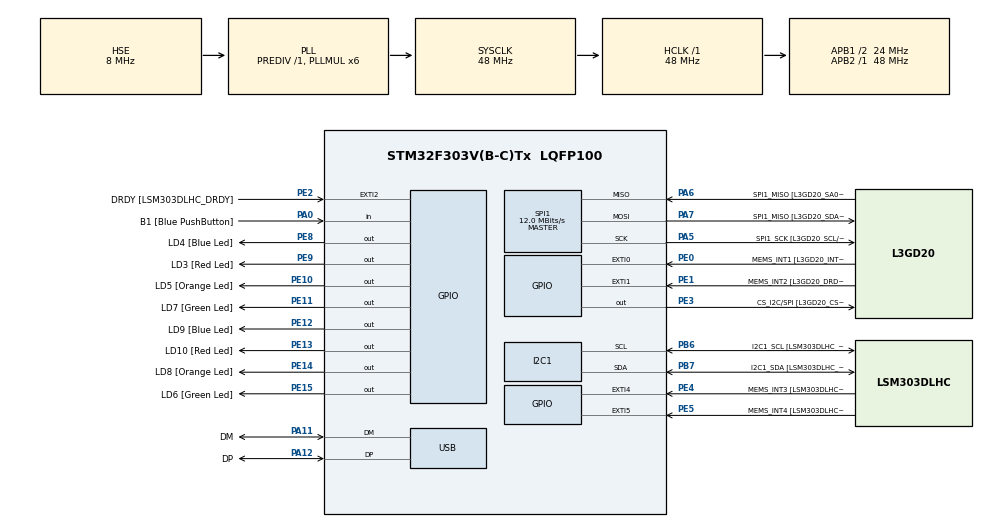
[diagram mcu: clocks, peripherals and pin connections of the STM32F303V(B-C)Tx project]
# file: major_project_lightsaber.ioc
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I2C1.Timing=0x00201D2B
I2C1.Timing-I2C=0x2000090E
Mcu.Family=STM32F3
Mcu.Name=STM32F303V(B-C)Tx
Mcu.Package=LQFP100
NVIC.PriorityGroup=NVIC_PRIORITYGROUP_0
PA0.GPIO_Label=B1 [Blue PushButton]
PA0.Signal=GPIO_Input
PA11.GPIO_Label=DM
PA11.Mode=Device
PA11.Signal=USB_DM
PA12.GPIO_Label=DP
PA12.Mode=Device
PA12.Signal=USB_DP
PA13.GPIO_Label=SWDIO
PA13.Mode=Serial_Wire
PA13.Signal=SYS_JTMS-SWDIO
PA14.GPIO_Label=SWCLK
PA14.Mode=Serial_Wire
PA14.Signal=SYS_JTCK-SWCLK
PA5.GPIO_Label=SPI1_SCK [L3GD20_SCL/SPC]
PA5.Mode=Full_Duplex_Master
PA5.Signal=SPI1_SCK
PA6.GPIO_Label=SPI1_MISO [L3GD20_SA0/SDO]
PA6.Mode=Full_Duplex_Master
PA6.Signal=SPI1_MISO
PA7.GPIO_Label=SPI1_MISO [L3GD20_SDA/SDI/SDO]
PA7.Mode=Full_Duplex_Master
PA7.Signal=SPI1_MOSI
PB3.GPIO_Label=SWO
PB3.Signal=SYS_JTDO-TRACESWO
PB6.GPIO_Label=I2C1_SCL [LSM303DLHC_SCL]
PB6.GPIO_Pu=GPIO_PULLUP
PB6.Mode=I2C
PB6.Signal=I2C1_SCL
PB7.GPIO_Label=I2C1_SDA [LSM303DLHC_SDA]
PB7.GPIO_Pu=GPIO_PULLUP
PB7.Mode=I2C
PB7.Signal=I2C1_SDA
PC14-OSC32_IN.GPIO_Label=OSC32_IN
PC14-OSC32_IN.Signal=RCC_OSC32_IN
PC15-OSC32_OUT.GPIO_Label=OSC32_OUT
PC15-OSC32_OUT.Signal=RCC_OSC32_OUT
PE0.GPIO_Label=MEMS_INT1 [L3GD20_INT1]
PE0.GPIO_ModeDefaultEXTI=GPIO_MODE_EVT_RISING
PE0.Signal=GPXTI0
PE1.GPIO_Label=MEMS_INT2 [L3GD20_DRDY/INT2]
PE1.GPIO_ModeDefaultEXTI=GPIO_MODE_EVT_RISING
PE1.Signal=GPXTI1
PE10.GPIO_Label=LD5 [Orange Led]
PE10.Signal=GPIO_Output
PE11.GPIO_Label=LD7 [Green Led]
PE11.Signal=GPIO_Output
PE12.GPIO_Label=LD9 [Blue Led]
PE12.Signal=GPIO_Output
PE13.GPIO_Label=LD10 [Red Led]
PE13.Signal=GPIO_Output
PE14.GPIO_Label=LD8 [Orange Led]
PE14.Signal=GPIO_Output
PE15.GPIO_Label=LD6 [Green Led]
PE15.Signal=GPIO_Output
PE2.GPIO_Label=DRDY [LSM303DLHC_DRDY]
PE2.GPIO_ModeDefaultEXTI=GPIO_MODE_EVT_RISING
PE2.Signal=GPXTI2
PE3.GPIO_Label=CS_I2C/SPI [L3GD20_CS_I2C/SPI]
PE3.Signal=GPIO_Output
PE4.GPIO_Label=MEMS_INT3 [LSM303DLHC_INT1]
PE4.GPIO_ModeDefaultEXTI=GPIO_MODE_EVT_RISING
PE4.Signal=GPXTI4
PE5.GPIO_Label=MEMS_INT4 [LSM303DLHC_INT2]
PE5.GPIO_ModeDefaultEXTI=GPIO_MODE_EVT_RISING
PE5.Signal=GPXTI5
PE8.GPIO_Label=LD4 [Blue Led]
PE8.Signal=GPIO_Output
PE9.GPIO_Label=LD3 [Red Led]
PE9.Signal=GPIO_Output
PF0-OSC_IN.GPIO_Label=OSC_IN
PF0-OSC_IN.Mode=HSE-External-Clock-Source
PF0-OSC_IN.Signal=RCC_OSC_IN
PF1-OSC_OUT.GPIO_Label=OSC_OUT
PF1-OSC_OUT.Signal=RCC_OSC_OUT
ProjectManager.HeapSize=0x200
ProjectManager.StackSize=0x400
ProjectManager.TargetToolchain=STM32CubeIDE
RCC.AHBFreq_Value=48000000
RCC.APB1CLKDivider=RCC_HCLK_DIV2
RCC.APB1Freq_Value=24000000
RCC.APB1TimFreq_Value=48000000
RCC.APB2Freq_Value=48000000
RCC.APB2TimFreq_Value=48000000
RCC.CortexFreq_Value=48000000
RCC.HCLKFreq_Value=48000000
RCC.HSE_VALUE=8000000
RCC.HSI_VALUE=8000000
RCC.LSE_VALUE=32768
RCC.PLLMUL=RCC_PLL_MUL6
RCC.SYSCLKFreq_VALUE=48000000
RCC.SYSCLKSourceVirtual=RCC_SYSCLKSOURCE_PLLCLK
RCC.USBFreq_Value=48000000
SPI1.BaudRatePrescaler=SPI_BAUDRATEPRESCALER_4
SPI1.BaudRatePrescaler-Full_Duplex_Master=SPI_BAUDRATEPRESCALER_2
SPI1.CalculateBaudRate=12.0 MBits/s
SPI1.CalculateBaudRate-Full_Duplex_Master=24.0 MBits/s
SPI1.Direction=SPI_DIRECTION_2LINES
SPI1.Mode=SPI_MODE_MASTER
SPI1.Mode-Full_Duplex_Master=SPI_MODE_MASTER
SPI1.VirtualType=VM_MASTER
board=STM32F3DISCOVERY

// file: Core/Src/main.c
/* USER CODE BEGIN Header */
/**
  ******************************************************************************
  * @file           : main.c
  * @brief          : Main program body
  ******************************************************************************
  * @attention
  *
  * Copyright (c) 2025 STMicroelectronics.
  * All rights reserved.
  *
  * This software is licensed under terms that can be found in the LICENSE file
  * in the root directory of this software component.
  * If no LICENSE file comes with this software, it is provided AS-IS.
  *
  ******************************************************************************
  */
/* USER CODE END Header */
#include "main.h"

/* USER CODE BEGIN Includes */
#include <stdint.h>
#include <string.h>
#include <stdio.h>
#include "gpio.h"
#include "timer.h"
#include "adc.h"
#include "serial.h"
#include "colour_detector.h"
#include "led_sequence.h"
#include "i2c.h"
#include "stm32f3xx_hal.h"
/* USER CODE END Includes */

I2C_HandleTypeDef hi2c1;

SPI_HandleTypeDef hspi1;

PCD_HandleTypeDef hpcd_USB_FS;

void SystemClock_Config(void);
static void MX_GPIO_Init(void);
static void MX_I2C1_Init(void);
static void MX_SPI1_Init(void);
static void MX_USB_PCD_Init(void);

int main(void)
{

  /* MCU Configuration--------------------------------------------------------*/

  /* Reset of all peripherals, Initializes the Flash interface and the Systick. */
  HAL_Init();

  /* USER CODE BEGIN Init */

  ////	// PINS
  	// PD1 to RED
  	// PD2 to GREEN
  	// PD3 to BLUE
  	// PA1 to LDR circuit (5V -> 2k resistor -> probe -> LDR -> GND)

  /* USER CODE END Init */

  /* Configure the system clock */
  SystemClock_Config();

  /* Initialize all configured peripherals */
  MX_GPIO_Init();
  MX_I2C1_Init();
  MX_SPI1_Init();
  MX_USB_PCD_Init();
  /* USER CODE BEGIN 2 */
	init_GPIO_ALL(&setLEDs);
	HD44780_Init(2);
	HD44780_Backlight();
	serialInitialise(BAUD_115200, &USART1_PORT, 0x00); // remember to change baud rate multiplication if merge to puzzle 1
	initialiseSingleADC();
	////
	////	//start state machine with a timer callback function
	setTIM2Callback(&handleStateMachine);
	init_TIM2(40); // set timer duration as 40ms
  /* USER CODE END 2 */

  /* Infinite loop */
  while (1)
  {

  }
}

void SystemClock_Config(void)
{
  RCC_OscInitTypeDef RCC_OscInitStruct = {0};
  RCC_ClkInitTypeDef RCC_ClkInitStruct = {0};
  RCC_PeriphCLKInitTypeDef PeriphClkInit = {0};

  /** Initializes the RCC Oscillators according to the specified parameters
  * in the RCC_OscInitTypeDef structure.
  */
  RCC_OscInitStruct.OscillatorType = RCC_OSCILLATORTYPE_HSI|RCC_OSCILLATORTYPE_HSE;
  RCC_OscInitStruct.HSEState = RCC_HSE_BYPASS;
  RCC_OscInitStruct.HSEPredivValue = RCC_HSE_PREDIV_DIV1;
  RCC_OscInitStruct.HSIState = RCC_HSI_ON;
  RCC_OscInitStruct.HSICalibrationValue = RCC_HSICALIBRATION_DEFAULT;
  RCC_OscInitStruct.PLL.PLLState = RCC_PLL_ON;
  RCC_OscInitStruct.PLL.PLLSource = RCC_PLLSOURCE_HSE;
  RCC_OscInitStruct.PLL.PLLMUL = RCC_PLL_MUL6;
  if (HAL_RCC_OscConfig(&RCC_OscInitStruct) != HAL_OK)
  {
    Error_Handler();
  }

  /** Initializes the CPU, AHB and APB buses clocks
  */
  RCC_ClkInitStruct.ClockType = RCC_CLOCKTYPE_HCLK|RCC_CLOCKTYPE_SYSCLK
                              |RCC_CLOCKTYPE_PCLK1|RCC_CLOCKTYPE_PCLK2;
  RCC_ClkInitStruct.SYSCLKSource = RCC_SYSCLKSOURCE_PLLCLK;
  RCC_ClkInitStruct.AHBCLKDivider = RCC_SYSCLK_DIV1;
  RCC_ClkInitStruct.APB1CLKDivider = RCC_HCLK_DIV2;
  RCC_ClkInitStruct.APB2CLKDivider = RCC_HCLK_DIV1;

  if (HAL_RCC_ClockConfig(&RCC_ClkInitStruct, FLASH_LATENCY_1) != HAL_OK)
  {
    Error_Handler();
  }
  PeriphClkInit.PeriphClockSelection = RCC_PERIPHCLK_USB|RCC_PERIPHCLK_I2C1;
  PeriphClkInit.I2c1ClockSelection = RCC_I2C1CLKSOURCE_HSI;
  PeriphClkInit.USBClockSelection = RCC_USBCLKSOURCE_PLL;
  if (HAL_RCCEx_PeriphCLKConfig(&PeriphClkInit) != HAL_OK)
  {
    Error_Handler();
  }
}

static void MX_I2C1_Init(void)
{

  hi2c1.Instance = I2C1;
  hi2c1.Init.Timing = 0x00201D2B;
  hi2c1.Init.OwnAddress1 = 0;
  hi2c1.Init.AddressingMode = I2C_ADDRESSINGMODE_7BIT;
  hi2c1.Init.DualAddressMode = I2C_DUALADDRESS_DISABLE;
  hi2c1.Init.OwnAddress2 = 0;
  hi2c1.Init.OwnAddress2Masks = I2C_OA2_NOMASK;
  hi2c1.Init.GeneralCallMode = I2C_GENERALCALL_DISABLE;
  hi2c1.Init.NoStretchMode = I2C_NOSTRETCH_DISABLE;
  if (HAL_I2C_Init(&hi2c1) != HAL_OK)
  {
    Error_Handler();
  }

  /** Configure Analogue filter
  */
  if (HAL_I2CEx_ConfigAnalogFilter(&hi2c1, I2C_ANALOGFILTER_ENABLE) != HAL_OK)
  {
    Error_Handler();
  }

  /** Configure Digital filter
  */
  if (HAL_I2CEx_ConfigDigitalFilter(&hi2c1, 0) != HAL_OK)
  {
    Error_Handler();
  }

}

static void MX_SPI1_Init(void)
{

  /* SPI1 parameter configuration*/
  hspi1.Instance = SPI1;
  hspi1.Init.Mode = SPI_MODE_MASTER;
  hspi1.Init.Direction = SPI_DIRECTION_2LINES;
  hspi1.Init.DataSize = SPI_DATASIZE_4BIT;
  hspi1.Init.CLKPolarity = SPI_POLARITY_LOW;
  hspi1.Init.CLKPhase = SPI_PHASE_1EDGE;
  hspi1.Init.NSS = SPI_NSS_SOFT;
  hspi1.Init.BaudRatePrescaler = SPI_BAUDRATEPRESCALER_4;
  hspi1.Init.FirstBit = SPI_FIRSTBIT_MSB;
  hspi1.Init.TIMode = SPI_TIMODE_DISABLE;
  hspi1.Init.CRCCalculation = SPI_CRCCALCULATION_DISABLE;
  hspi1.Init.CRCPolynomial = 7;
  hspi1.Init.CRCLength = SPI_CRC_LENGTH_DATASIZE;
  hspi1.Init.NSSPMode = SPI_NSS_PULSE_ENABLE;
  if (HAL_SPI_Init(&hspi1) != HAL_OK)
  {
    Error_Handler();
  }

}

static void MX_USB_PCD_Init(void)
{

  hpcd_USB_FS.Instance = USB;
  hpcd_USB_FS.Init.dev_endpoints = 8;
  hpcd_USB_FS.Init.speed = PCD_SPEED_FULL;
  hpcd_USB_FS.Init.phy_itface = PCD_PHY_EMBEDDED;
  hpcd_USB_FS.Init.low_power_enable = DISABLE;
  hpcd_USB_FS.Init.battery_charging_enable = DISABLE;
  if (HAL_PCD_Init(&hpcd_USB_FS) != HAL_OK)
  {
    Error_Handler();
  }

}

static void MX_GPIO_Init(void)
{
  GPIO_InitTypeDef GPIO_InitStruct = {0};

  /* GPIO Ports Clock Enable */
  __HAL_RCC_GPIOE_CLK_ENABLE();
  __HAL_RCC_GPIOC_CLK_ENABLE();
  __HAL_RCC_GPIOF_CLK_ENABLE();
  __HAL_RCC_GPIOA_CLK_ENABLE();
  __HAL_RCC_GPIOB_CLK_ENABLE();

  /*Configure GPIO pin Output Level */
  HAL_GPIO_WritePin(GPIOE, CS_I2C_SPI_Pin|LD4_Pin|LD3_Pin|LD5_Pin
                          |LD7_Pin|LD9_Pin|LD10_Pin|LD8_Pin
                          |LD6_Pin, GPIO_PIN_RESET);

  /*Configure GPIO pins : DRDY_Pin MEMS_INT3_Pin MEMS_INT4_Pin MEMS_INT1_Pin
                           MEMS_INT2_Pin */
  GPIO_InitStruct.Pin = DRDY_Pin|MEMS_INT3_Pin|MEMS_INT4_Pin|MEMS_INT1_Pin
                          |MEMS_INT2_Pin;
  GPIO_InitStruct.Mode = GPIO_MODE_EVT_RISING;
  GPIO_InitStruct.Pull = GPIO_NOPULL;
  HAL_GPIO_Init(GPIOE, &GPIO_InitStruct);

  /*Configure GPIO pins : CS_I2C_SPI_Pin LD4_Pin LD3_Pin LD5_Pin
                           LD7_Pin LD9_Pin LD10_Pin LD8_Pin
                           LD6_Pin */
  GPIO_InitStruct.Pin = CS_I2C_SPI_Pin|LD4_Pin|LD3_Pin|LD5_Pin
                          |LD7_Pin|LD9_Pin|LD10_Pin|LD8_Pin
                          |LD6_Pin;
  GPIO_InitStruct.Mode = GPIO_MODE_OUTPUT_PP;
  GPIO_InitStruct.Pull = GPIO_NOPULL;
  GPIO_InitStruct.Speed = GPIO_SPEED_FREQ_LOW;
  HAL_GPIO_Init(GPIOE, &GPIO_InitStruct);

  /*Configure GPIO pin : B1_Pin */
  GPIO_InitStruct.Pin = B1_Pin;
  GPIO_InitStruct.Mode = GPIO_MODE_INPUT;
  GPIO_InitStruct.Pull = GPIO_NOPULL;
  HAL_GPIO_Init(B1_GPIO_Port, &GPIO_InitStruct);

}

void Error_Handler(void)
{
  __disable_irq();
  while (1)
  {
  }
}
